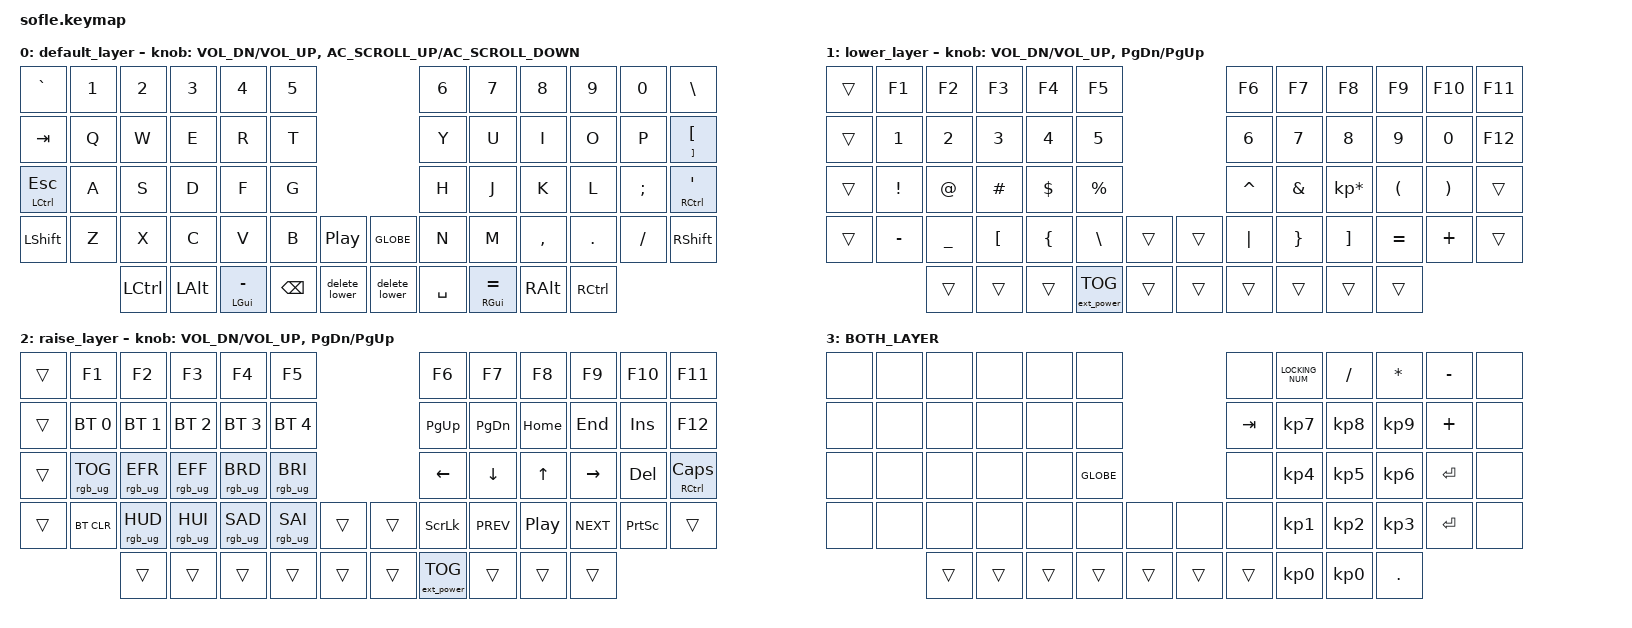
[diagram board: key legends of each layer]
/*
 * Copyright (c) 2020 The ZMK Contributors
 *
 * SPDX-License-Identifier: MIT
 */

#include <behaviors.dtsi>
#include <dt-bindings/zmk/bt.h>
#include <dt-bindings/zmk/ext_power.h>
#include <dt-bindings/zmk/keys.h>
#include <dt-bindings/zmk/rgb.h>

&sk {
    release-after-ms = <666>;

    /delete-property/ ignore-modifiers;
};

/ {
    macros {
        as: autoshift {
            compatible = "zmk,behavior-macro-one-param";
            #binding-cells = <1>;
            bindings =
                <&none>,
                <&macro_press>,
                <&macro_param_1to1 &macro_param_1to2 &as_ht MACRO_PLACEHOLDER MACRO_PLACEHOLDER>,
                <&macro_pause_for_release>,
                <&macro_release>,
                <&macro_param_1to1 &macro_param_1to2 &as_ht MACRO_PLACEHOLDER MACRO_PLACEHOLDER>;

            label = "AUTOSHIFT_KEYPRESS";
        };

        shift: with_lshift {
            compatible = "zmk,behavior-macro-one-param";
            #binding-cells = <1>;
            bindings =
                <&macro_press>,
                <&kp LEFT_SHIFT>,
                <&macro_tap>,
                <&macro_param_1to1 &kp MACRO_PLACEHOLDER>,
                <&macro_release>,
                <&kp LEFT_SHIFT>;

            label = "KEY_PRESS_WITH_LEFT_SHIFT_MODIFIER";
        };

        rgblayer: rgb_layer {
            compatible = "zmk,behavior-macro-two-param";
            #binding-cells = <2>;
            bindings =
                <&macro_param_2to2 &rgb_ug RGB_COLOR_HSB_CMD MACRO_PLACEHOLDER &macro_param_1to1>,
                <&macro_press>,
                <&mo MACRO_PLACEHOLDER>,
                <&macro_pause_for_release>,
                <&macro_release>,
                <&macro_param_1to1 &mo MACRO_PLACEHOLDER>,
                <&macro_tap>,
                <&rgb_ug RGB_TOG>;

            label = "MOMENTARY_LAYER_WITH_RGB_SELECTION";
        };
    };

    behaviors {
        as_ht: autoshift_hold_tap {
            compatible = "zmk,behavior-hold-tap";
            label = "AUTOSHIFT_HOLD_TAP";
            bindings = <&shift>, <&kp>;

            #binding-cells = <2>;
            tapping-term-ms = <190>;
        };

        delete_lower: delete_lower {
            compatible = "zmk,behavior-tap-dance";
            label = "DELETE_LOWER";
            #binding-cells = <0>;
            bindings = <&kp DEL>, <&rgblayer RGB_COLOR_HSB_VAL(154,68,56) 1>;

            tapping-term-ms = <190>;
        };

        return_raise: return_raise {
            compatible = "zmk,behavior-tap-dance";
            label = "RETURN_RAISE";
            #binding-cells = <0>;
            bindings = <&kp RET>, <&rgblayer RGB_COLOR_HSB_VAL(221,80,48) 2>;

            tapping-term-ms = <190>;
        };
    };

    keymap {
        compatible = "zmk,keymap";

        default_layer {
            // ------------------------------------------------------------------------------------------------------------
            // |  `    |  1  |  2  |  3   |  4   |  5   |                   |  6   |  7    |  8    |  9   |   0   |   \   |
            // |  TAB  |  Q  |  W  |  E   |  R   |  T   |                   |  Y   |  U    |  I    |  O   |   P   | BKSPC |
            // | C/ESC |  A  |  S  |  D   |  F   |  G   |                   |  H   |  J    |  K    |  L   |   ;   |  C/'  |
            // | SHIFT |  Z  |  X  |  C   |  V   |  B   |  MUTE  |  | PLAY  |  N   |  M    |  ,    |  .   |   /   | SHIFT |
            //               | CAPS| ALT  | GUI/-| SPACE|LOWER/[ |  |RAISE/]| ENTER|  GUI/=|  ALT  | CTRL |

            bindings = <
&kp GRAVE      &kp N1  &kp N2     &kp N3    &kp N4          &kp N5                                            &kp N6     &kp N7          &kp N8     &kp N9     &kp N0    &kp BSLH
&kp TAB        &kp Q   &kp W      &kp E     &kp R           &kp T                                             &kp Y      &kp U           &kp I      &kp O      &kp P     &mt RIGHT_BRACKET LEFT_BRACKET
&mt LCTRL ESC  &kp A   &kp S      &kp D     &kp F           &kp G                                             &kp H      &kp J           &kp K      &kp L      &kp SEMI  &mt RCTRL SQT
&kp LSHFT      &kp Z   &kp X      &kp C     &kp V           &kp B          &kp C_PLAY_PAUSE    &kp GLOBE      &kp N      &kp M           &kp COMMA  &kp DOT    &kp FSLH  &kp RSHFT
                       &kp LCTRL  &kp LALT  &mt LGUI MINUS  &kp BACKSPACE  &delete_lower       &delete_lower  &kp SPACE  &mt RGUI EQUAL  &kp RALT   &kp RCTRL
            >;

            sensor-bindings =
                <&inc_dec_kp C_VOL_DN C_VOL_UP>,
                <&inc_dec_kp C_AC_SCROLL_UP C_AC_SCROLL_DOWN>;
        };

        lower_layer {
            // ------------------------------------------------------------------------------------------------------------
            // |       |  F1 |  F2 |  F3  |  F4  |  F5  |                   |  F6  |  F7   |  F8   |  F9  |  F10  |  F11  |
            // |       |   1 |   2 |   3  |   4  |   5  |                   |   6  |   7   |   8   |   9  |    0  |  F12  |
            // |       |  !  |  @  |  #   |  $   |  %   |                   |  ^   |  &    |  *    |  (   |   )   |       |
            // |       |  -  |  _  |  [   |  {   |  \   |        |  |       |  |   |  }    |  ]    |  =   |   +   |       |
            //               |     |      |      |      |        |  |       |      |       |       |      |

            bindings = <
&trans  &kp F1     &kp F2     &kp F3    &kp F4    &kp F5                               &kp F6     &kp F7    &kp F8           &kp F9     &kp F10   &kp F11
&trans  &kp N1     &kp N2     &kp N3    &kp N4    &kp N5                               &kp N6     &kp N7    &kp N8           &kp N9     &kp N0    &kp F12
&trans  &kp EXCL   &kp AT     &kp HASH  &kp DLLR  &kp PRCNT                            &kp CARET  &kp AMPS  &kp KP_MULTIPLY  &kp LPAR   &kp RPAR  &trans
&trans  &kp MINUS  &kp UNDER  &kp LBKT  &kp LBRC  &kp BSLH           &trans    &trans  &kp PIPE   &kp RBRC  &kp RBKT         &kp EQUAL  &kp PLUS  &trans
                   &trans     &trans    &trans    &ext_power EP_TOG  &trans    &trans  &trans     &trans    &trans           &trans
            >;

            sensor-bindings = <&inc_dec_kp C_VOL_DN C_VOL_UP &inc_dec_kp PG_DN PG_UP>;
        };

        raise_layer {
            // ------------------------------------------------------------------------------------------------------------
            // |     |  F1  |  F2  |  F3   |  F4   |  F5  |                |  F6  |  F7  |  F8   |  F9  |  F10  |  F11  |
            // |     | BT1  | BT2  |  BT3  |  BT4  |  BT5 |                | PGUP |  END |   ^   | HOME |  INS  |  F12  |
            // |     | RGBT | RGB- | RGB+  |  BR-  |  BR+ |                | PGDN |   <- |   v   | ->   |  DEL  | C/CAPS|
            // |     |BTCLR | HUD  | HUI   |  SAD  |  SAI |      |  |      | SCRL | PRVS | PLAY  | NEXT |  PSCR |       |
            //              |      |       |       |      |      |  |      |      |      |       |      |

            bindings = <
&trans  &kp F1           &kp F2           &kp F3           &kp F4           &kp F5                             &kp F6             &kp F7         &kp F8        &kp F9      &kp F10    &kp F11
&trans  &bt BT_SEL 0     &bt BT_SEL 1     &bt BT_SEL 2     &bt BT_SEL 3     &bt BT_SEL 4                       &kp PG_UP          &kp PAGE_DOWN  &kp HOME      &kp END     &kp INS    &kp F12
&trans  &rgb_ug RGB_TOG  &rgb_ug RGB_EFR  &rgb_ug RGB_EFF  &rgb_ug RGB_BRD  &rgb_ug RGB_BRI                    &kp LEFT           &kp DOWN       &kp UP_ARROW  &kp RIGHT   &kp DEL    &mt RCTRL CLCK
&trans  &bt BT_CLR       &rgb_ug RGB_HUD  &rgb_ug RGB_HUI  &rgb_ug RGB_SAD  &rgb_ug RGB_SAI  &trans    &trans  &kp SLCK           &kp C_PREV     &kp C_PP      &kp C_NEXT  &kp PSCRN  &trans
                         &trans           &trans           &trans           &trans           &trans    &trans  &ext_power EP_TOG  &trans         &trans        &trans
            >;

            sensor-bindings = <&inc_dec_kp C_VOL_DN C_VOL_UP &inc_dec_kp PG_DN PG_UP>;
        };

        BOTH_LAYER {
            bindings = <
&none  &none  &none   &none   &none   &none                        &none    &kp LOCKING_NUM  &kp FSLH   &kp STAR         &kp MINUS  &none
&none  &none  &none   &none   &none   &none                        &kp TAB  &kp KP_NUMBER_7  &kp KP_N8  &kp KP_N9        &kp PLUS   &none
&none  &none  &none   &none   &none   &kp GLOBE                    &none    &kp KP_N4        &kp KP_N5  &kp KP_NUMBER_6  &kp RET    &none
&none  &none  &none   &none   &none   &none      &none     &none   &none    &kp KP_N1        &kp KP_N2  &kp KP_N3        &kp RET    &none
              &trans  &trans  &trans  &trans     &trans    &trans  &trans   &kp KP_N0        &kp KP_N0  &kp DOT
            >;
        };
    };

    conditional_layers {
        compatible = "zmk,conditional-layers";

        tri_layer {
            if-layers = <1 2>;
            then-layer = <3>;
        };
    };
};
